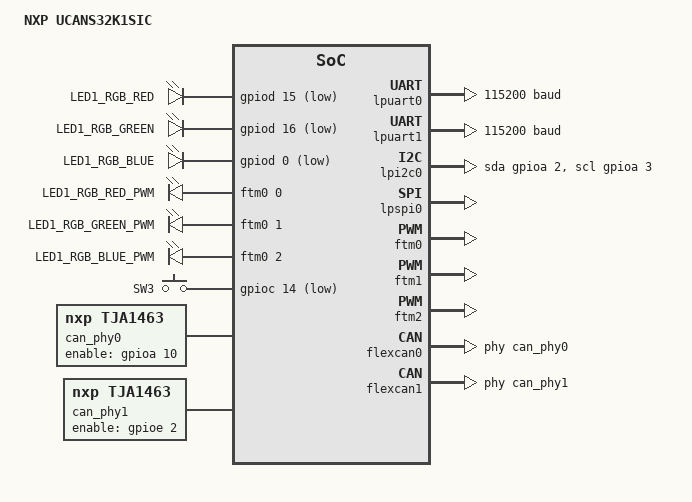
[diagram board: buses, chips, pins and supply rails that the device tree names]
/*
 * Copyright 2023 NXP
 *
 * SPDX-License-Identifier: Apache-2.0
 */

/dts-v1/;
#include <zephyr/dt-bindings/gpio/gpio.h>
#include <zephyr/dt-bindings/input/input-event-codes.h>
#include <zephyr/dt-bindings/pwm/pwm.h>
#include <arm/nxp/nxp_s32k146.dtsi>
#include "ucans32k1sic-pinctrl.dtsi"

/ {
	model = "NXP UCANS32K1SIC";
	compatible = "nxp,ucans32k1sic";

	chosen {
		zephyr,sram = &sram_l;
		zephyr,flash = &flash0;
		zephyr,console = &lpuart1;
		zephyr,shell-uart = &lpuart1;
		zephyr,uart-pipe = &lpuart1;
		zephyr,canbus = &flexcan0;
	};

	aliases {
		led0 = &led1_red;
		led1 = &led1_green;
		led2 = &led1_blue;
		pwm-led0 = &led1_red_pwm;
		pwm-led1 = &led1_green_pwm;
		pwm-led2 = &led1_blue_pwm;
		red-pwm-led = &led1_red_pwm;
		green-pwm-led = &led1_green_pwm;
		blue-pwm-led = &led1_blue_pwm;
		pwm-0 = &ftm0;
		sw0 = &button_3;
		i2c-0 = &lpi2c0;
	};

	leds {
		compatible = "gpio-leds";

		led1_red: led_0 {
			gpios = <&gpiod 15 GPIO_ACTIVE_LOW>;
			label = "LED1_RGB_RED";
		};
		led1_green: led_1 {
			gpios = <&gpiod 16 GPIO_ACTIVE_LOW>;
			label = "LED1_RGB_GREEN";
		};
		led1_blue: led_2 {
			gpios = <&gpiod 0 GPIO_ACTIVE_LOW>;
			label = "LED1_RGB_BLUE";
		};
	};

	pwmleds {
		compatible = "pwm-leds";

		led1_red_pwm: led_pwm_0 {
			pwms = <&ftm0 0 PWM_MSEC(20) PWM_POLARITY_INVERTED>;
			label = "LED1_RGB_RED_PWM";
		};
		led1_green_pwm: led_pwm_1 {
			pwms = <&ftm0 1 PWM_MSEC(20) PWM_POLARITY_INVERTED>;
			label = "LED1_RGB_GREEN_PWM";
		};
		led1_blue_pwm: led_pwm_2 {
			pwms = <&ftm0 2 PWM_MSEC(20) PWM_POLARITY_INVERTED>;
			label = "LED1_RGB_BLUE_PWM";
		};
	};

	gpio_keys {
		compatible = "gpio-keys";

		button_3: button_0 {
			label = "SW3";
			gpios = <&gpioc 14 GPIO_ACTIVE_LOW>;
			zephyr,code = <INPUT_KEY_0>;
		};
	};

	can_phy0: can-phy0 {
		compatible = "nxp,tja1463", "nxp,tja1443", "nxp,tja1153", "can-transceiver-gpio";
		enable-gpios = <&gpioa 10 GPIO_ACTIVE_HIGH>;
		max-bitrate = <8000000>;
		#phy-cells = <0>;
	};

	can_phy1: can-phy1 {
		compatible = "nxp,tja1463", "nxp,tja1443", "nxp,tja1153", "can-transceiver-gpio";
		enable-gpios = <&gpioe 2 GPIO_ACTIVE_HIGH>;
		max-bitrate = <8000000>;
		#phy-cells = <0>;
	};
};

&cpu0 {
	clock-frequency = <80000000>;
};

&gpioa {
	status = "okay";
};

&gpiob {
	status = "okay";
};

&gpioc {
	status = "okay";
};

&gpiod {
	status = "okay";
};

&gpioe {
	status = "okay";
};

&lpuart0 {
	pinctrl-0 = <&lpuart0_default>;
	pinctrl-names = "default";
	current-speed = <115200>;
};

&lpuart1 {
	pinctrl-0 = <&lpuart1_default>;
	pinctrl-names = "default";
	current-speed = <115200>;
	status = "okay";
};

&lpi2c0 {
	pinctrl-0 = <&lpi2c0_default>;
	pinctrl-names = "default";
	scl-gpios = <&gpioa 3 GPIO_ACTIVE_HIGH>;
	sda-gpios = <&gpioa 2 GPIO_ACTIVE_HIGH>;
	status = "okay";
};

&lpspi0 {
	pinctrl-0 = <&lpspi0_default>;
	pinctrl-names = "default";
	status = "okay";
};

&ftm0 {
	compatible = "nxp,kinetis-ftm-pwm";
	pinctrl-0 = <&ftm0_default>;
	pinctrl-names = "default";
	clock-source = "system";
	prescaler = <4>;
	#pwm-cells = <3>;
	status = "okay";
};

&ftm1 {
	compatible = "nxp,kinetis-ftm-pwm";
	pinctrl-0 = <&ftm1_default>;
	pinctrl-names = "default";
	clock-source = "system";
	prescaler = <4>;
	#pwm-cells = <3>;
	status = "okay";
};

&ftm2 {
	compatible = "nxp,kinetis-ftm-pwm";
	pinctrl-0 = <&ftm2_default>;
	pinctrl-names = "default";
	clock-source = "system";
	prescaler = <4>;
	#pwm-cells = <3>;
	status = "okay";
};

&flexcan0 {
	pinctrl-0 = <&flexcan0_default>;
	pinctrl-names = "default";
	phys = <&can_phy0>;
	status = "okay";
};

&flexcan1 {
	pinctrl-0 = <&flexcan1_default>;
	pinctrl-names = "default";
	phys = <&can_phy1>;
	status = "okay";
};
